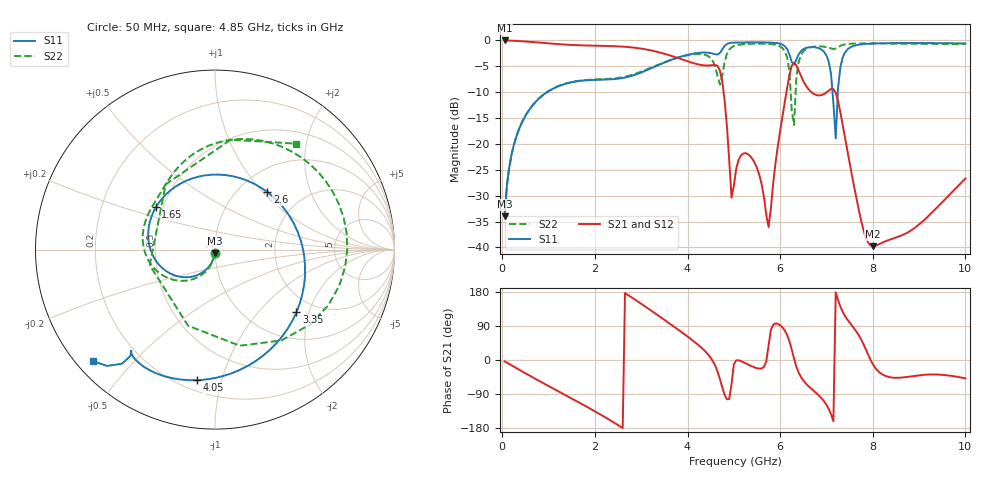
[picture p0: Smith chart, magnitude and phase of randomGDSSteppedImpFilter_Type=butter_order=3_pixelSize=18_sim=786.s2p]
! freq	dB(S11)	phase(S11)	dB(S12)	phase(S12)
!  dB(S21)	phase(S21)	dB(S22)	phase(S22)
!S-par simulation data
#  GHz  S  DB  R 50
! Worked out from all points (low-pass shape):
!   200 points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, 50 MHz to 10 GHz, reference 50 ohm
!   highest |S21| = -0.01 dB at 50 MHz (marker M1); lowest = -39.8 dB at 8 GHz (marker M2)
!   |S21| within 3 dB of the highest: start of sweep to 3.658 GHz
!   lowest |S11| = -34.0 dB at 50 MHz (marker M3), VSWR 1.04, Z = 49.8 - j1.99 ohm
!   |S11| at or under -10 dB: start of sweep to 966.2 MHz; 7.131 GHz to 7.246 GHz (115.1 MHz wide, 1.6 % of centre)
!   |S22| runs from -34.0 to -0.6 dB; largest |S21 - S12| = 0
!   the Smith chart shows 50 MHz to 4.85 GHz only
!   S11 on the Smith chart (normalised r, x): 50 MHz: 1.00, -0.04; 1.65 GHz: 0.46, +0.26; 2.6 GHz: 1.34, +1.06; 3.35 GHz: 1.60, -1.66; 4.05 GHz: 0.27, -0.84; 4.85 GHz: 0.05, -0.39
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0.05  -33.97 -93.8  -0.01 -3.6  -0.01 -3.6  -33.95 -93.3
0.5  -14.55 -127.9  -0.20 -35.1  -0.20 -35.1  -14.54 -123.2
1.65  -7.85 144.4  -0.93 -111.6  -0.93 -111.6  -7.80 171.5
1.75  -7.75 135.8  -0.97 -118.3  -0.97 -118.3  -7.70 166.7
2.6  -7.26 47.8  -1.20 -179.5  -1.20 -179.5  -7.09 132.1
3.35  -4.85 -37.5  -2.22 118.9  -2.22 118.9  -4.75 93.7
3.4  -4.66 -42.5  -2.33 114.6  -2.33 114.6  -4.56 90.2
4.05  -2.69 -97.7  -4.17 57.4  -4.17 57.4  -2.79 31.5
4.6  -2.69 -129.8  -4.74 -15.6  -4.74 -15.6  -5.15 -75.6
4.7  -2.41 -128.5  -5.83 -50.7  -5.83 -50.7  -8.55 -166.6
4.85  -0.70 -137.7  -16.51 -103.5  -16.51 -103.5  -2.60 52.8
5.05  -0.41 -153.5  -24.86 -1.2  -24.86 -1.2  -0.96 -3.7
5.75  -0.41 167.7  -36.05 37.5  -36.05 37.5  -0.68 -84.1
6.25  -4.17 137.1  -4.89 27.8  -4.89 27.8  -13.57 169.6
6.35  -3.71 153.8  -4.83 -17.6  -4.83 -17.6  -7.12 -48.7
6.7  -1.28 130.0  -10.18 -78.7  -10.18 -78.7  -1.25 -111.5
7.1  -6.60 63.2  -9.37 -143.6  -9.37 -143.6  -1.57 -138.1
7.2  -18.95 -84.7  -10.12 178.2  -10.12 178.2  -1.56 -139.9
7.25  -9.17 -147.9  -11.69 158.2  -11.69 158.2  -1.31 -141.3
8  -0.60 111.4  -39.76 -10.6  -39.76 -10.6  -0.59 179.7
8.35  -0.52 94.9  -38.55 -45.0  -38.55 -45.0  -0.61 164.2
10  -0.59 26.8  -26.67 -48.6  -26.67 -48.6  -0.72 95.0
